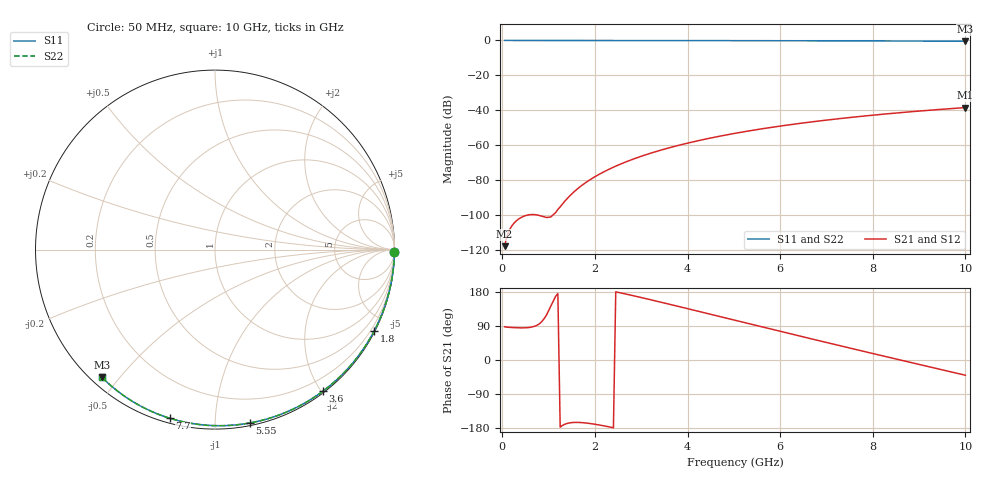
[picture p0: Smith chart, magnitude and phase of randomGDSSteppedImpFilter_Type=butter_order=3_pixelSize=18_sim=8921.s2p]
! freq	dB(S11)	phase(S11)	dB(S12)	phase(S12)
!  dB(S21)	phase(S21)	dB(S22)	phase(S22)
!S-par simulation data
#  GHz  S  DB  R 50
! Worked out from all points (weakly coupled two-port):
!   200 points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, 50 MHz to 10 GHz, reference 50 ohm
!   highest |S21| = -38.48 dB at 10 GHz (marker M1); lowest = -117.9 dB at 50 MHz (marker M2)
!   lowest |S11| = -0.4 dB at 10 GHz (marker M3), VSWR 39.20, Z = 1.54 - j22.5 ohm
!   |S11| at or under -10 dB: nowhere
!   |S22| runs from -0.4 to 0.0 dB; largest |S21 - S12| = 0
!   S11 on the Smith chart (normalised r, x): 50 MHz: open; 1.8 GHz: 0.04, -4.18; 3.6 GHz: 0.02, -2.02; 5.55 GHz: 0.02, -1.22; 7.7 GHz: 0.02, -0.77; 10 GHz: 0.03, -0.45
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0.05  -0.00 -0.8  -117.92 87.7  -117.92 87.7  -0.00 -0.8
0.9  -0.02 -13.6  -101.15 108.7  -101.15 108.7  -0.02 -13.6
1.75  -0.03 -26.2  -82.44 -165.5  -82.44 -165.5  -0.03 -26.2
1.8  -0.03 -26.9  -81.50 -166.2  -81.50 -166.2  -0.03 -26.9
1.85  -0.04 -27.7  -80.60 -166.9  -80.60 -166.9  -0.04 -27.7
1.9  -0.04 -28.4  -79.74 -167.7  -79.74 -167.7  -0.04 -28.4
2.05  -0.04 -30.6  -77.34 -170.6  -77.34 -170.6  -0.04 -30.6
2.25  -0.04 -33.5  -74.53 -175.1  -74.53 -175.1  -0.04 -33.5
2.45  -0.05 -36.4  -72.04 179.9  -72.04 179.9  -0.05 -36.4
2.65  -0.05 -39.3  -69.81 174.6  -69.81 174.6  -0.05 -39.3
3  -0.06 -44.3  -66.39 164.8  -66.39 164.8  -0.06 -44.3
3.4  -0.07 -49.9  -63.05 153.3  -63.05 153.3  -0.07 -49.9
3.6  -0.07 -52.7  -61.55 147.4  -61.55 147.4  -0.07 -52.7
4.3  -0.09 -62.2  -57.04 126.6  -57.04 126.6  -0.09 -62.2
5.05  -0.11 -72.2  -53.11 104.2  -53.11 104.2  -0.11 -72.2
5.55  -0.13 -78.7  -50.88 89.2  -50.88 89.2  -0.13 -78.7
6.1  -0.15 -85.6  -48.71 72.8  -48.71 72.8  -0.15 -85.6
6.7  -0.18 -93.1  -46.61 55.1  -46.61 55.1  -0.18 -93.1
7.7  -0.24 -105.1  -43.63 25.8  -43.63 25.8  -0.24 -105.1
8.35  -0.29 -112.6  -41.96 7.0  -41.96 7.0  -0.29 -112.6
9.15  -0.36 -121.8  -40.15 -16.0  -40.15 -16.0  -0.36 -121.8
10  -0.44 -131.4  -38.48 -40.2  -38.48 -40.2  -0.44 -131.4
